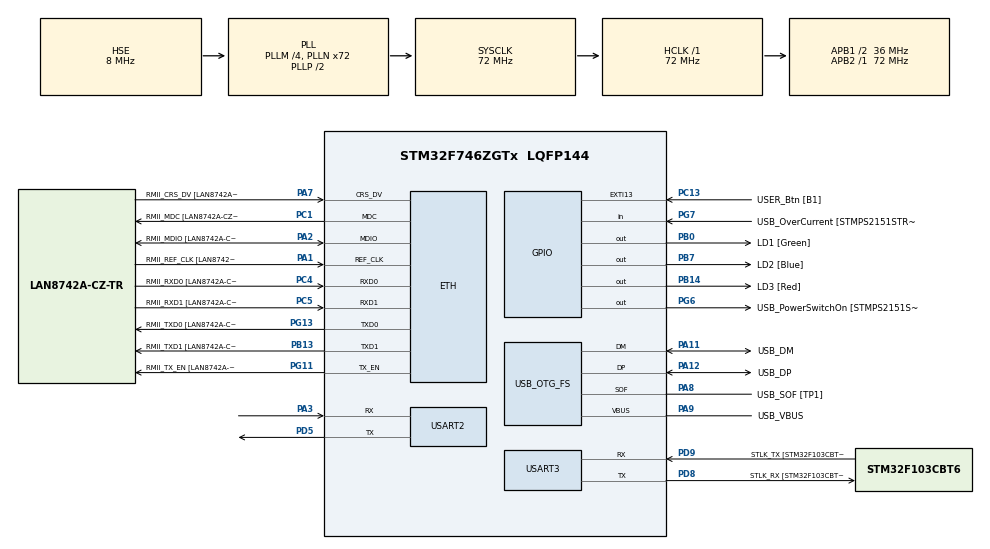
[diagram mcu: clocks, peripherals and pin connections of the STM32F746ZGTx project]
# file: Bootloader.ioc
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ETH.MediaInterface=ETH_MEDIA_INTERFACE_RMII
ETH.PHY_Name=LAN8742A_PHY_ADDRESS
ETH.PHY_Value=0
ETH.PhyAddress=0
Mcu.Family=STM32F7
Mcu.Name=STM32F746ZGTx
Mcu.Package=LQFP144
NVIC.PriorityGroup=NVIC_PRIORITYGROUP_4
PA1.GPIO_Label=RMII_REF_CLK [LAN8742A-CZ-TR_REFCLK0]
PA1.Mode=RMII
PA1.Signal=ETH_REF_CLK
PA10.GPIO_Label=USB_ID
PA10.Signal=USB_OTG_FS_ID
PA11.GPIO_Label=USB_DM
PA11.Mode=Device_Only
PA11.Signal=USB_OTG_FS_DM
PA12.GPIO_Label=USB_DP
PA12.Mode=Device_Only
PA12.Signal=USB_OTG_FS_DP
PA13.GPIO_Label=TMS
PA13.Mode=Serial_Wire
PA13.Signal=SYS_JTMS-SWDIO
PA14.GPIO_Label=TCK
PA14.Mode=Serial_Wire
PA14.Signal=SYS_JTCK-SWCLK
PA2.GPIO_Label=RMII_MDIO [LAN8742A-CZ-TR_MDIO]
PA2.Mode=RMII
PA2.Signal=ETH_MDIO
PA3.Mode=Asynchronous
PA3.Signal=USART2_RX
PA7.GPIO_Label=RMII_CRS_DV [LAN8742A-CZ-TR_CRS_DV]
PA7.Mode=RMII
PA7.Signal=ETH_CRS_DV
PA8.GPIO_Label=USB_SOF [TP1]
PA8.Mode=Activate_SOF_FS
PA8.Signal=USB_OTG_FS_SOF
PA9.GPIO_Label=USB_VBUS
PA9.Mode=Activate_VBUS
PA9.Signal=USB_OTG_FS_VBUS
PB0.GPIO_Label=LD1 [Green]
PB0.Signal=GPIO_Output
PB13.GPIO_Label=RMII_TXD1 [LAN8742A-CZ-TR_TXD1]
PB13.Mode=RMII
PB13.Signal=ETH_TXD1
PB14.GPIO_Label=LD3 [Red]
PB14.Signal=GPIO_Output
PB3.GPIO_Label=SW0
PB3.Signal=SYS_JTDO-SWO
PB7.GPIO_Label=LD2 [Blue]
PB7.Signal=GPIO_Output
PC1.GPIO_Label=RMII_MDC [LAN8742A-CZ-TR_MDC]
PC1.Mode=RMII
PC1.Signal=ETH_MDC
PC13.GPIO_Label=USER_Btn [B1]
PC13.Signal=GPXTI13
PC14/OSC32_IN.Mode=LSE-External-Oscillator
PC14/OSC32_IN.Signal=RCC_OSC32_IN
PC15/OSC32_OUT.Mode=LSE-External-Oscillator
PC15/OSC32_OUT.Signal=RCC_OSC32_OUT
PC4.GPIO_Label=RMII_RXD0 [LAN8742A-CZ-TR_RXD0]
PC4.Mode=RMII
PC4.Signal=ETH_RXD0
PC5.GPIO_Label=RMII_RXD1 [LAN8742A-CZ-TR_RXD1]
PC5.Mode=RMII
PC5.Signal=ETH_RXD1
PD5.Mode=Asynchronous
PD5.Signal=USART2_TX
PD8.GPIO_Label=STLK_RX [STM32F103CBT6_PA3]
PD8.Mode=Asynchronous
PD8.Signal=USART3_TX
PD9.GPIO_Label=STLK_TX [STM32F103CBT6_PA2]
PD9.Mode=Asynchronous
PD9.Signal=USART3_RX
PG11.GPIO_Label=RMII_TX_EN [LAN8742A-CZ-TR_TXEN]
PG11.Mode=RMII
PG11.Signal=ETH_TX_EN
PG13.GPIO_Label=RMII_TXD0 [LAN8742A-CZ-TR_TXD0]
PG13.Mode=RMII
PG13.Signal=ETH_TXD0
PG6.GPIO_Label=USB_PowerSwitchOn [STMPS2151STR_EN]
PG6.Signal=GPIO_Output
PG7.GPIO_Label=USB_OverCurrent [STMPS2151STR_FAULT]
PG7.Signal=GPIO_Input
PH0/OSC_IN.GPIO_Label=MCO [STM32F103CBT6_PA8]
PH0/OSC_IN.Mode=HSE-External-Clock-Source
PH0/OSC_IN.Signal=RCC_OSC_IN
PH1/OSC_OUT.Mode=HSE-External-Clock-Source
PH1/OSC_OUT.Signal=RCC_OSC_OUT
ProjectManager.HeapSize=0x200
ProjectManager.StackSize=0x400
ProjectManager.TargetToolchain=STM32CubeIDE
RCC.48MHZClocksFreq_Value=24000000
RCC.AHBFreq_Value=72000000
RCC.APB1CLKDivider=RCC_HCLK_DIV2
RCC.APB1Freq_Value=36000000
RCC.APB1TimFreq_Value=72000000
RCC.APB2Freq_Value=72000000
RCC.APB2TimFreq_Value=72000000
RCC.CortexFreq_Value=72000000
RCC.HCLKFreq_Value=72000000
RCC.HSE_VALUE=8000000
RCC.HSI_VALUE=16000000
RCC.PLLM=4
RCC.PLLMUL=RCC_PLL_MUL9
RCC.PLLN=72
RCC.PLLQ=3
RCC.PRESCALERUSB=RCC_USBCLKSOURCE_PLL_DIV1_5
RCC.SYSCLKFreq_VALUE=72000000
RCC.SYSCLKSource=RCC_SYSCLKSOURCE_PLLCLK
RCC.SYSCLKSourceVirtual=RCC_SYSCLKSOURCE_PLLCLK
RCC.USBFreq_Value=48000000
RCC.VCOOutputFreq_Value=144000000
USART2.VirtualMode-Asynchronous=VM_ASYNC
USART3.VirtualMode-Asynchronous=VM_ASYNC
USB_OTG_FS.VirtualMode=Device_Only
board=NUCLEO-F746ZG

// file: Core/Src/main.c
/* USER CODE BEGIN Header */
/**
  ******************************************************************************
  * @file           : main.c
  * @brief          : Main program body
  ******************************************************************************
  * @attention
  *
  * Copyright (c) 2022 STMicroelectronics.
  * All rights reserved.
  *
  * This software is licensed under terms that can be found in the LICENSE file
  * in the root directory of this software component.
  * If no LICENSE file comes with this software, it is provided AS-IS.
  *
  ******************************************************************************
  */
/* USER CODE END Header */
#include "main.h"

/* USER CODE BEGIN Includes */
#include <stdio.h>
#include <flash_update.h>
/* USER CODE END Includes */

//ETH_HandleTypeDef heth;

UART_HandleTypeDef huart2;
UART_HandleTypeDef huart3;

PCD_HandleTypeDef hpcd_USB_OTG_FS;

void SystemClock_Config(void);
static void MX_GPIO_Init(void);
//static void MX_ETH_Init(void);
static void MX_USART3_UART_Init(void);
static void MX_USB_OTG_FS_PCD_Init(void);
static void MX_USART2_UART_Init(void);
/* USER CODE BEGIN PFP */
static void goto_app (void);
/* USER CODE END PFP */

int main(void)
{

  /* MCU Configuration--------------------------------------------------------*/

  /* Reset of all peripherals, Initializes the Flash interface and the Systick. */
  HAL_Init();

  /* Configure the system clock */
  SystemClock_Config();

  /* Initialize all configured peripherals */
  MX_GPIO_Init();
//  MX_ETH_Init();
  MX_USART3_UART_Init();
  MX_USB_OTG_FS_PCD_Init();
  MX_USART2_UART_Init();
  /* USER CODE BEGIN 2 */

  printf("Starting bootloader...\n\r");
  HAL_GPIO_WritePin(GPIOB, GPIO_PIN_14, GPIO_PIN_SET);
  HAL_Delay(2000);

  GPIO_PinState OTA_Pin_state;
  uint32_t end_tick = HAL_GetTick() + 3000;
  printf("Press the User Button PC13 to trigger OTA update...\r\n");

  while (HAL_GetTick() <= end_tick)
  {
	OTA_Pin_state = HAL_GPIO_ReadPin( GPIOC, GPIO_PIN_13 );

	if (OTA_Pin_state != GPIO_PIN_RESET)
		break;
  }

  if (OTA_Pin_state == GPIO_PIN_SET)
  {
	  printf("Starting Firmware Download\r\n");

	  if (etx_ota_download_and_flash() != ETX_OTA_EX_OK)
	  {
		  printf("OTA update error, aborting...\r\n");
		  while(1);
	  }

	  else
	  {
		  printf("Firmware update complete, rebooting...\r\n");
		  HAL_NVIC_SystemReset();
	  }
  }
  goto_app();
  /* USER CODE END 2 */

  /* Infinite loop */
  while (1)
  {

  }
}

void SystemClock_Config(void)
{
  RCC_OscInitTypeDef RCC_OscInitStruct = {0};
  RCC_ClkInitTypeDef RCC_ClkInitStruct = {0};

  /** Configure LSE Drive Capability
  */
  HAL_PWR_EnableBkUpAccess();

  /** Configure the main internal regulator output voltage
  */
  __HAL_RCC_PWR_CLK_ENABLE();
  __HAL_PWR_VOLTAGESCALING_CONFIG(PWR_REGULATOR_VOLTAGE_SCALE3);

  /** Initializes the RCC Oscillators according to the specified parameters
  * in the RCC_OscInitTypeDef structure.
  */
  RCC_OscInitStruct.OscillatorType = RCC_OSCILLATORTYPE_HSE;
  RCC_OscInitStruct.HSEState = RCC_HSE_BYPASS;
  RCC_OscInitStruct.PLL.PLLState = RCC_PLL_ON;
  RCC_OscInitStruct.PLL.PLLSource = RCC_PLLSOURCE_HSE;
  RCC_OscInitStruct.PLL.PLLM = 4;
  RCC_OscInitStruct.PLL.PLLN = 72;
  RCC_OscInitStruct.PLL.PLLP = RCC_PLLP_DIV2;
  RCC_OscInitStruct.PLL.PLLQ = 3;
  if (HAL_RCC_OscConfig(&RCC_OscInitStruct) != HAL_OK)
  {
    Error_Handler();
  }

  /** Initializes the CPU, AHB and APB buses clocks
  */
  RCC_ClkInitStruct.ClockType = RCC_CLOCKTYPE_HCLK|RCC_CLOCKTYPE_SYSCLK
                              |RCC_CLOCKTYPE_PCLK1|RCC_CLOCKTYPE_PCLK2;
  RCC_ClkInitStruct.SYSCLKSource = RCC_SYSCLKSOURCE_PLLCLK;
  RCC_ClkInitStruct.AHBCLKDivider = RCC_SYSCLK_DIV1;
  RCC_ClkInitStruct.APB1CLKDivider = RCC_HCLK_DIV2;
  RCC_ClkInitStruct.APB2CLKDivider = RCC_HCLK_DIV1;

  if (HAL_RCC_ClockConfig(&RCC_ClkInitStruct, FLASH_LATENCY_2) != HAL_OK)
  {
    Error_Handler();
  }
}

//static void MX_ETH_Init(void)
//{
//
//  /* USER CODE BEGIN ETH_Init 0 */
////
//  /* USER CODE END ETH_Init 0 */
//
//   static uint8_t MACAddr[6];
//
//  /* USER CODE BEGIN ETH_Init 1 */
////
//  /* USER CODE END ETH_Init 1 */
//  heth.Instance = ETH;
//  heth.Init.AutoNegotiation = ETH_AUTONEGOTIATION_ENABLE;
//  heth.Init.Speed = ETH_SPEED_100M;
//  heth.Init.DuplexMode = ETH_MODE_FULLDUPLEX;
//  heth.Init.PhyAddress = LAN8742A_PHY_ADDRESS;
//  MACAddr[0] = 0x00;
//  MACAddr[1] = 0x80;
//  MACAddr[2] = 0xE1;
//  MACAddr[3] = 0x00;
//  MACAddr[4] = 0x00;
//  MACAddr[5] = 0x00;
//  heth.Init.MACAddr = &MACAddr[0];
//  heth.Init.RxMode = ETH_RXPOLLING_MODE;
//  heth.Init.ChecksumMode = ETH_CHECKSUM_BY_HARDWARE;
//  heth.Init.MediaInterface = ETH_MEDIA_INTERFACE_RMII;
//
//  /* USER CODE BEGIN MACADDRESS */
////
//  /* USER CODE END MACADDRESS */
//
//  if (HAL_ETH_Init(&heth) != HAL_OK)
//  {
//    Error_Handler();
//  }
//  /* USER CODE BEGIN ETH_Init 2 */
////
//  /* USER CODE END ETH_Init 2 */
//
//}

static void MX_USART2_UART_Init(void)
{

  huart2.Instance = USART2;
  huart2.Init.BaudRate = 115200;
  huart2.Init.WordLength = UART_WORDLENGTH_8B;
  huart2.Init.StopBits = UART_STOPBITS_1;
  huart2.Init.Parity = UART_PARITY_NONE;
  huart2.Init.Mode = UART_MODE_TX_RX;
  huart2.Init.HwFlowCtl = UART_HWCONTROL_NONE;
  huart2.Init.OverSampling = UART_OVERSAMPLING_16;
  huart2.Init.OneBitSampling = UART_ONE_BIT_SAMPLE_DISABLE;
  huart2.AdvancedInit.AdvFeatureInit = UART_ADVFEATURE_NO_INIT;
  if (HAL_UART_Init(&huart2) != HAL_OK)
  {
    Error_Handler();
  }

}

static void MX_USART3_UART_Init(void)
{

  huart3.Instance = USART3;
  huart3.Init.BaudRate = 115200;
  huart3.Init.WordLength = UART_WORDLENGTH_8B;
  huart3.Init.StopBits = UART_STOPBITS_1;
  huart3.Init.Parity = UART_PARITY_NONE;
  huart3.Init.Mode = UART_MODE_TX_RX;
  huart3.Init.HwFlowCtl = UART_HWCONTROL_NONE;
  huart3.Init.OverSampling = UART_OVERSAMPLING_16;
  huart3.Init.OneBitSampling = UART_ONE_BIT_SAMPLE_DISABLE;
  huart3.AdvancedInit.AdvFeatureInit = UART_ADVFEATURE_NO_INIT;
  if (HAL_UART_Init(&huart3) != HAL_OK)
  {
    Error_Handler();
  }

}

static void MX_USB_OTG_FS_PCD_Init(void)
{

  hpcd_USB_OTG_FS.Instance = USB_OTG_FS;
  hpcd_USB_OTG_FS.Init.dev_endpoints = 6;
  hpcd_USB_OTG_FS.Init.speed = PCD_SPEED_FULL;
  hpcd_USB_OTG_FS.Init.dma_enable = DISABLE;
  hpcd_USB_OTG_FS.Init.phy_itface = PCD_PHY_EMBEDDED;
  hpcd_USB_OTG_FS.Init.Sof_enable = ENABLE;
  hpcd_USB_OTG_FS.Init.low_power_enable = DISABLE;
  hpcd_USB_OTG_FS.Init.lpm_enable = DISABLE;
  hpcd_USB_OTG_FS.Init.vbus_sensing_enable = ENABLE;
  hpcd_USB_OTG_FS.Init.use_dedicated_ep1 = DISABLE;
  if (HAL_PCD_Init(&hpcd_USB_OTG_FS) != HAL_OK)
  {
    Error_Handler();
  }

}

static void MX_GPIO_Init(void)
{
  GPIO_InitTypeDef GPIO_InitStruct = {0};

  /* GPIO Ports Clock Enable */
  __HAL_RCC_GPIOC_CLK_ENABLE();
  __HAL_RCC_GPIOH_CLK_ENABLE();
  __HAL_RCC_GPIOA_CLK_ENABLE();
  __HAL_RCC_GPIOB_CLK_ENABLE();
  __HAL_RCC_GPIOD_CLK_ENABLE();
  __HAL_RCC_GPIOG_CLK_ENABLE();

  /*Configure GPIO pin Output Level */
  HAL_GPIO_WritePin(GPIOB, LD1_Pin|LD3_Pin|LD2_Pin, GPIO_PIN_RESET);

  /*Configure GPIO pin Output Level */
  HAL_GPIO_WritePin(USB_PowerSwitchOn_GPIO_Port, USB_PowerSwitchOn_Pin, GPIO_PIN_RESET);

  /*Configure GPIO pin : USER_Btn_Pin */
  GPIO_InitStruct.Pin = USER_Btn_Pin;
  GPIO_InitStruct.Mode = GPIO_MODE_IT_RISING;
  GPIO_InitStruct.Pull = GPIO_NOPULL;
  HAL_GPIO_Init(USER_Btn_GPIO_Port, &GPIO_InitStruct);

  /*Configure GPIO pins : LD1_Pin LD3_Pin LD2_Pin */
  GPIO_InitStruct.Pin = LD1_Pin|LD3_Pin|LD2_Pin;
  GPIO_InitStruct.Mode = GPIO_MODE_OUTPUT_PP;
  GPIO_InitStruct.Pull = GPIO_NOPULL;
  GPIO_InitStruct.Speed = GPIO_SPEED_FREQ_LOW;
  HAL_GPIO_Init(GPIOB, &GPIO_InitStruct);

  /*Configure GPIO pin : USB_PowerSwitchOn_Pin */
  GPIO_InitStruct.Pin = USB_PowerSwitchOn_Pin;
  GPIO_InitStruct.Mode = GPIO_MODE_OUTPUT_PP;
  GPIO_InitStruct.Pull = GPIO_NOPULL;
  GPIO_InitStruct.Speed = GPIO_SPEED_FREQ_LOW;
  HAL_GPIO_Init(USB_PowerSwitchOn_GPIO_Port, &GPIO_InitStruct);

  /*Configure GPIO pin : USB_OverCurrent_Pin */
  GPIO_InitStruct.Pin = USB_OverCurrent_Pin;
  GPIO_InitStruct.Mode = GPIO_MODE_INPUT;
  GPIO_InitStruct.Pull = GPIO_NOPULL;
  HAL_GPIO_Init(USB_OverCurrent_GPIO_Port, &GPIO_InitStruct);

}

/* USER CODE BEGIN 4 */
#ifdef __GNUC__
int __io_putchar(int ch)
#else
int fputc(int ch, FILE* f)
#endif

{
	HAL_UART_Transmit(&huart3, (uint8_t*) &ch, 1, HAL_MAX_DELAY);
	return ch;
}

static void goto_app (void)
{
	printf("Jumping to application...\r\n");

	void (*app_reset_handler) (void) = (void*) (*(volatile uint32_t*) (0x08040000 + 4));

    HAL_GPIO_WritePin(GPIOB, GPIO_PIN_14, GPIO_PIN_RESET);
    app_reset_handler();
}
/* USER CODE END 4 */

void Error_Handler(void)
{
  __disable_irq();
  while (1)
  {
  }
}
